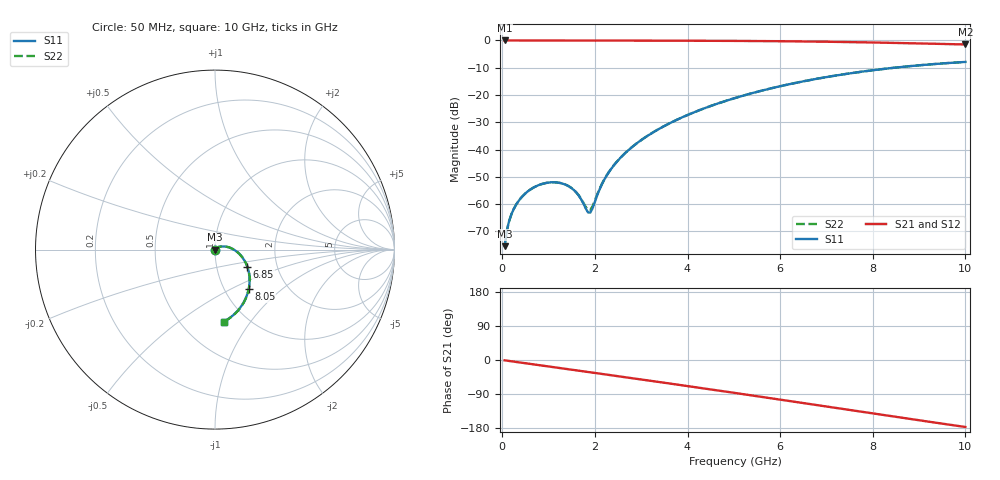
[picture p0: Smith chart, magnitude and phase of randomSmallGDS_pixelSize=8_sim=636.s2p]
! freq	dB(S11)	phase(S11)	dB(S12)	phase(S12)
!  dB(S21)	phase(S21)	dB(S22)	phase(S22)
!S-par simulation data
#  GHz  S  DB  R 50
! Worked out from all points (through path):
!   200 points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, 50 MHz to 10 GHz, reference 50 ohm
!   highest |S21| = 0.00 dB at 50 MHz (marker M1); lowest = -1.5 dB at 10 GHz (marker M2)
!   group delay of S21, straight-line fit = 49.3 ps
!   lowest |S11| = -75.4 dB at 50 MHz (marker M3), VSWR 1.00, Z = 50 - j0.0167 ohm
!   |S11| at or under -10 dB: start of sweep to 8.462 GHz
!   |S22| runs from -75.4 to -7.9 dB; largest |S21 - S12| = 0
!   S11 on the Smith chart (normalised r, x): 50 MHz: 1.00, -0.00; 6.85 GHz: 1.41, -0.28; 8.05 GHz: 1.30, -0.62; 10 GHz: 0.79, -0.75
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0.05  -75.38 -79.2  -0.00 -0.9  -0.00 -0.9  -75.38 -79.2
0.1  -69.50 -85.7  -0.00 -1.7  -0.00 -1.7  -69.50 -85.8
0.15  -66.02 -88.5  -0.00 -2.6  -0.00 -2.6  -66.03 -88.6
0.25  -61.66 -91.8  -0.00 -4.3  -0.00 -4.3  -61.67 -91.9
0.45  -56.83 -96.6  -0.01 -7.7  -0.01 -7.7  -56.84 -96.8
0.7  -53.67 -102.3  -0.01 -12.0  -0.01 -12.0  -53.68 -102.7
1  -52.07 -109.9  -0.02 -17.1  -0.02 -17.1  -52.07 -110.4
1.3  -52.45 -118.9  -0.03 -22.2  -0.03 -22.2  -52.44 -119.8
1.55  -54.88 -130.4  -0.03 -26.5  -0.03 -26.5  -54.83 -132.2
1.75  -59.73 -154.0  -0.03 -29.9  -0.03 -29.9  -59.42 -157.3
1.85  -62.98 170.0  -0.04 -31.6  -0.04 -31.6  -62.15 167.7
1.9  -63.10 142.5  -0.04 -32.4  -0.04 -32.4  -62.14 142.6
2.15  -52.75 75.1  -0.04 -36.7  -0.04 -36.7  -52.57 77.5
2.45  -44.92 59.0  -0.05 -41.9  -0.05 -41.9  -44.86 60.3
2.85  -38.41 47.8  -0.06 -48.8  -0.06 -48.8  -38.38 48.6
3.4  -32.26 35.9  -0.07 -58.3  -0.07 -58.3  -32.25 36.6
5.05  -20.97 5.1  -0.16 -87.4  -0.16 -87.4  -20.97 5.4
6.7  -14.32 -25.0  -0.40 -117.3  -0.40 -117.3  -14.32 -24.7
6.85  -13.86 -27.7  -0.43 -120.0  -0.43 -120.0  -13.86 -27.4
8.05  -10.81 -49.3  -0.76 -141.9  -0.76 -141.9  -10.81 -49.0
8.35  -10.21 -54.6  -0.86 -147.4  -0.86 -147.4  -10.21 -54.3
10  -7.87 -83.0  -1.47 -176.7  -1.47 -176.7  -7.87 -82.7
